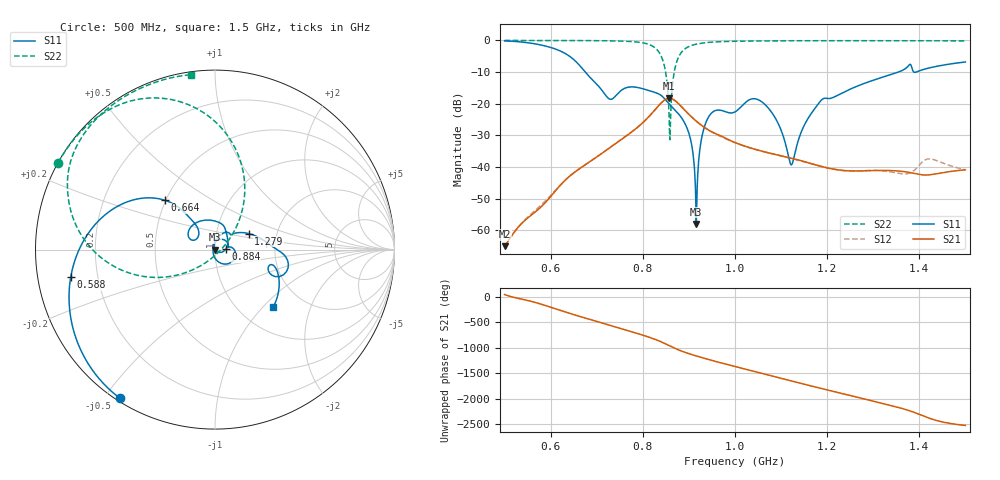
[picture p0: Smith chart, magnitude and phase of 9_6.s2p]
! TOUCHSTONE file generated by CST MICROWAVE STUDIO
! Date and time: Fri Oct  2 18:55:45 2020
! Project name: Scenario_1_Free_Space_out_of_line.cst
! Parameters = {Lambda=346.42; Step_1=17.321; dy1=208.912; dx1=1039; L_HA=400; MT=2.54; Rad_Dielectric=30; Rad_Lower=7.3; Rad_Upper=30; a_HA=580; a_WG=246; b_HA=500; b_WG=121; c_HA=0; c_WG=187; d_feed=85; h_feed=15; h_lower=18; h_upper=40}
! Header version: 2018
! Port assignment regex: !\s*Touchstone port\s*([0-9]+)\s*=\s*(CST MWS port|CST DS port)\s*([0-9]+|Zmin|Zmax)\s*\(\"(.*)\"\)(\s*mode\s*([0-9]+))?.*
! Touchstone port assignment:
! Touchstone port 1 = CST MWS port 1 ("")
! Touchstone port 2 = CST MWS port 2 ("")
# GHz S DB R 50
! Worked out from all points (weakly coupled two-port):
!   1003 points, 500 MHz to 1.5 GHz, reference 50 ohm
!   highest |S21| = -18.28 dB at 857 MHz (marker M1); lowest = -65.1 dB at 500 MHz (marker M2)
!   lowest |S11| = -58.1 dB at 916 MHz (marker M3), VSWR 1.00, Z = 49.9 - j0.0724 ohm
!   |S11| at or under -10 dB: 675.1 MHz to 1.355 GHz (679.4 MHz wide, 66.9 % of centre); 1.388059 GHz to 1.39314 GHz (5.08 MHz wide, 0.365 % of centre)
!   |S22| runs from -31.4 to 0.0 dB; largest |S21 - S12| = 0.007
!   S11 on the Smith chart (normalised r, x): 500 MHz: 0.01, -0.55; 588 MHz: 0.10, -0.09; 664 MHz: 0.49, +0.32; 884 MHz: 1.13, +0.00; 1.279 GHz: 1.43, +0.27; 1.5 GHz: 1.41, -1.15
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0.5  -0.15 -122.6  -65.06 41.0  -65.04 40.9  -0.01 151.1
0.588  -1.75 -169.3  -51.33 -172.7  -50.81 -174.8  -0.02 145.0
0.664  -8.11 135.6  -40.41 -30.2  -40.39 -29.9  -0.04 138.6
0.667  -8.61 134.0  -40.11 -38.2  -40.09 -37.8  -0.04 138.3
0.728  -18.55 142.4  -33.95 160.1  -33.94 160.2  -0.12 131.0
0.834  -16.88 71.6  -20.66 -143.2  -20.73 -143.1  -3.51 86.1
0.848  -18.57 58.8  -18.75 161.0  -18.77 161.0  -8.90 62.5
0.857  -20.06 46.7  -18.28 121.6  -18.29 121.6  -23.88 25.8
0.87  -22.03 25.8  -19.04 66.1  -19.05 66.1  -8.63 -155.3
0.884  -24.46 1.8  -20.98 14.1  -20.98 14.2  -3.72 -177.3
0.903  -30.99 -33.8  -23.82 -45.1  -23.80 -45.4  -1.73 166.5
0.916  -58.07 -144.5  -25.54 -81.4  -25.51 -82.0  -1.18 159.8
0.928  -30.59 99.8  -26.93 -113.3  -26.89 -113.9  -0.87 155.3
0.942  -24.36 68.0  -28.29 -149.3  -28.27 -149.5  -0.62 151.1
1  -22.60 11.0  -32.30 72.8  -32.32 72.8  -0.26 140.2
1.063  -19.99 -53.7  -35.19 -73.9  -35.22 -74.2  -0.15 133.1
1.122  -39.35 177.5  -37.21 148.0  -37.30 149.3  -0.11 127.8
1.167  -22.79 73.9  -39.02 46.9  -39.07 47.1  -0.10 124.2
1.279  -13.67 25.6  -41.24 160.8  -41.17 160.1  -0.08 115.6
1.334  -11.00 9.6  -41.13 37.6  -41.49 40.1  -0.09 111.4
1.422  -8.68 -19.4  -42.50 138.3  -37.44 116.7  -0.11 104.5
1.5  -6.81 -44.8  -40.90 -2.3  -40.91 -2.3  -0.14 97.9
